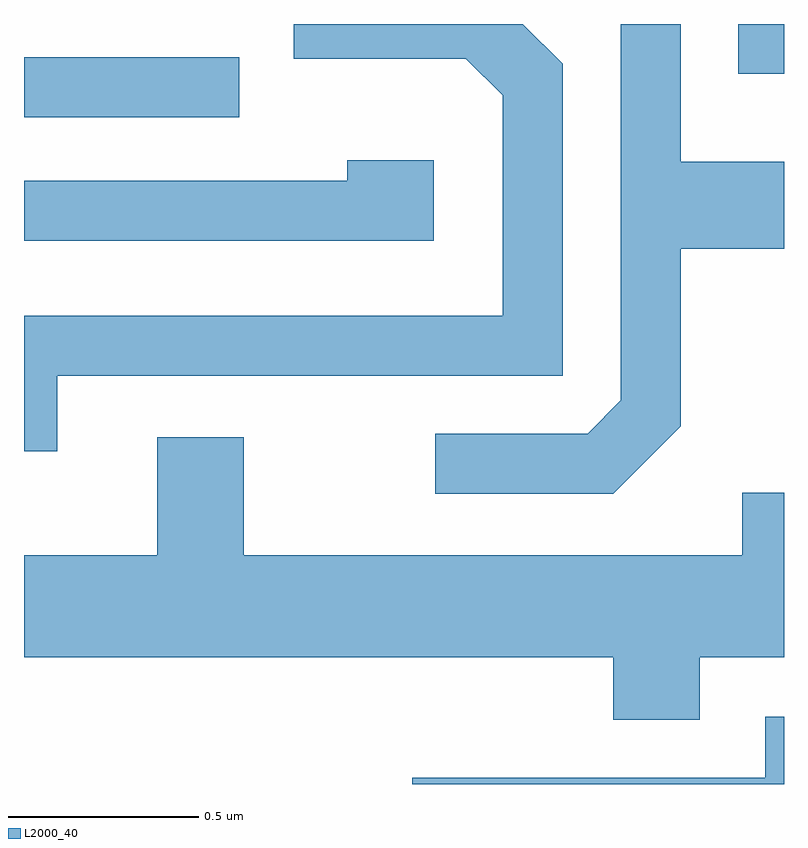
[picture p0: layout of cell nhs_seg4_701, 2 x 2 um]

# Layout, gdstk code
import gdstk
lib = gdstk.Library(unit=1e-6, precision=1e-09)
def R(c, l, rs):  # rectangles x0, y0, x1, y1
    for r in rs: c.add(gdstk.rectangle(r[:2], r[2:], *l))
def P(c, l, *ps):  # polygons
    for p in ps: c.add(gdstk.Polygon(p, *l))
L2000_40 = (2000, 40)

nhs_seg4_701 = lib.new_cell('nhs_seg4_701')
R(nhs_seg4_701, L2000_40, [(190.611,1271.736,191.178,1271.894), (192.491,1271.851,192.611,1271.982)])
P(nhs_seg4_701, L2000_40, [(190.699,1271.056),(192.029,1271.056),(192.029,1271.877),(191.924,1271.982),(191.321,1271.982),(191.321,1271.891),(191.774,1271.891),(191.871,1271.794),(191.871,1271.214),(190.611,1271.214),(190.611,1270.858),(190.699,1270.858)],
  [(192.339,1270.924),(192.339,1271.391),(192.611,1271.391),(192.611,1271.619),(192.339,1271.619),(192.339,1271.982),(192.181,1271.982),(192.181,1270.992),(192.094,1270.904),(191.693,1270.904),(191.693,1270.746),(192.162,1270.746)],
  [(191.689,1271.624),(191.461,1271.624),(191.461,1271.569),(190.611,1271.569),(190.611,1271.411),(191.689,1271.411)],
  [(192.389,1270.316),(192.611,1270.316),(192.611,1270.749),(192.501,1270.749),(192.501,1270.584),(191.189,1270.584),(191.189,1270.894),(190.961,1270.894),(190.961,1270.584),(190.611,1270.584),(190.611,1270.316),(192.161,1270.316),(192.161,1270.151),(192.389,1270.151)],
  [(192.611,1270.159),(192.561,1270.159),(192.561,1269.999),(191.633,1269.999),(191.633,1269.982),(192.611,1269.982)])

lib.write_gds('nhs_seg4_701.gds')
